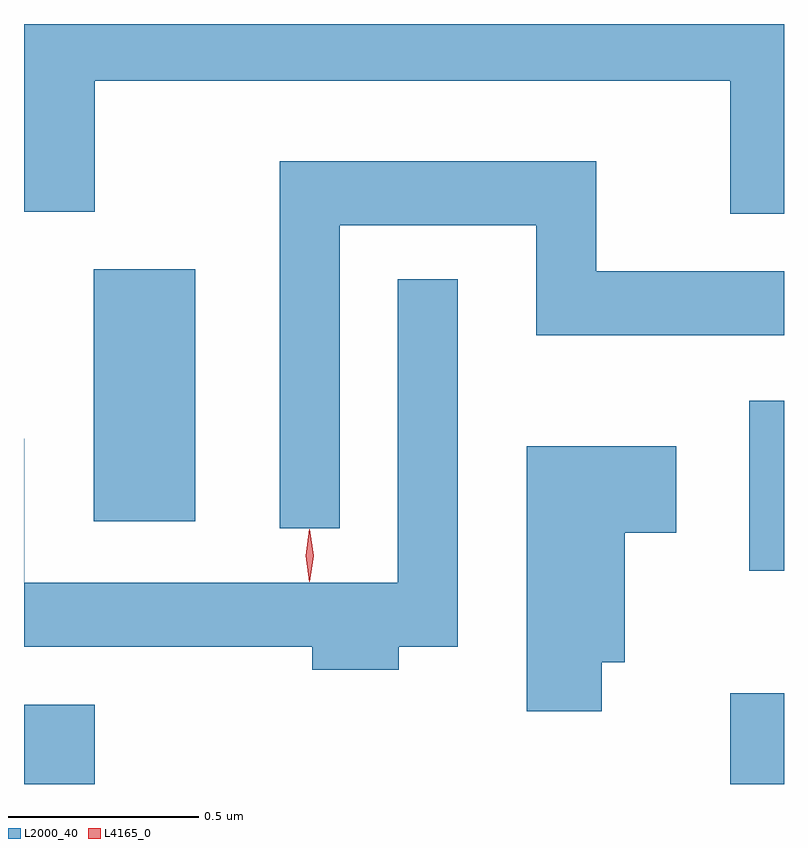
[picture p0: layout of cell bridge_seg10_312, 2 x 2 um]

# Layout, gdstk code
import gdstk
lib = gdstk.Library(unit=1e-6, precision=1e-09)
def R(c, l, rs):  # rectangles x0, y0, x1, y1
    for r in rs: c.add(gdstk.rectangle(r[:2], r[2:], *l))
def P(c, l, *ps):  # polygons
    for p in ps: c.add(gdstk.Polygon(p, *l))
L2000_40 = (2000, 40)
L4165_0 = (4165, 0)

bridge_seg10_312 = lib.new_cell('bridge_seg10_312')
R(bridge_seg10_312, L2000_40, [(1449.033,2178.665,1449.219,2178.874), (1450.891,2178.665,1451.033,2178.904), (1450.941,2179.226,1451.033,2179.674), (1449.216,2179.356,1449.484,2180.019)])
P(bridge_seg10_312, L2000_40, [(1451.033,2180.665),(1449.033,2180.665),(1449.033,2180.171),(1449.219,2180.171),(1449.219,2180.516),(1450.891,2180.516),(1450.891,2180.166),(1451.033,2180.166)],
  [(1449.864,2180.136),(1450.381,2180.136),(1450.381,2179.846),(1451.033,2179.846),(1451.033,2180.014),(1450.539,2180.014),(1450.539,2180.304),(1449.706,2180.304),(1449.706,2179.338),(1449.864,2179.338)],
  [(1450.019,2179.026),(1450.174,2179.026),(1450.174,2179.993),(1450.016,2179.993),(1450.016,2179.194),(1449.034,2179.194),(1449.034,2179.573),(1449.033,2179.573),(1449.033,2179.026),(1449.791,2179.026),(1449.791,2178.966),(1450.019,2178.966)],
  [(1450.554,2178.986),(1450.614,2178.986),(1450.614,2179.326),(1450.749,2179.326),(1450.749,2179.554),(1450.356,2179.554),(1450.356,2178.856),(1450.554,2178.856)])
P(bridge_seg10_312, L4165_0, [(1449.784,2179.197),(1449.775,2179.266),(1449.784,2179.336),(1449.785,2179.336),(1449.785,2179.336),(1449.795,2179.266),(1449.785,2179.197),(1449.785,2179.197)],
  [(1449.785,2179.199),(1449.784,2179.2),(1449.775,2179.266),(1449.784,2179.332),(1449.785,2179.333),(1449.785,2179.332),(1449.795,2179.266),(1449.785,2179.2)])

lib.write_gds('bridge_seg10_312.gds')
